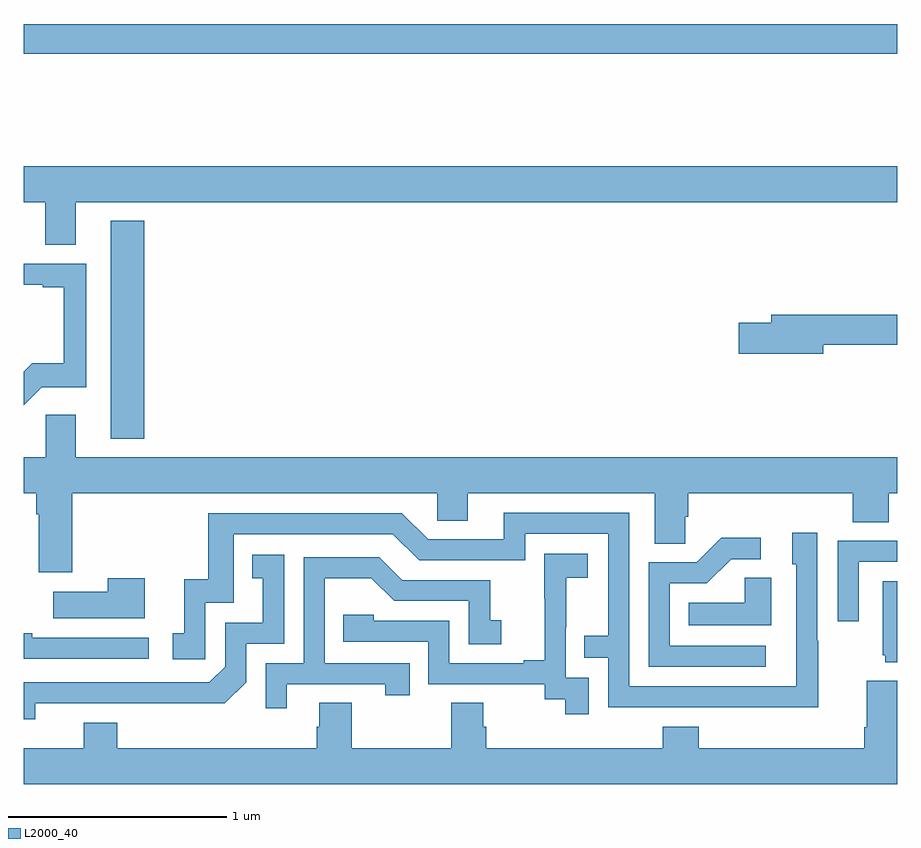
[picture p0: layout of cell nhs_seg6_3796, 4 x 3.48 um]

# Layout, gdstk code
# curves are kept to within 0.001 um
import gdstk
lib = gdstk.Library(unit=1e-6, precision=1e-09)
def R(c, l, rs):  # rectangles x0, y0, x1, y1
    for r in rs: c.add(gdstk.rectangle(r[:2], r[2:], *l))
def P(c, l, *ps):  # polygons
    for p in ps: c.add(gdstk.Polygon(p, *l))
L2000_40 = (2000, 40)

nhs_seg6_3796 = lib.new_cell('nhs_seg6_3796')
R(nhs_seg6_3796, L2000_40, [(335.399,947.585,335.552,948.583), (335,949.348,339,949.484)])
P(nhs_seg6_3796, L2000_40, [(335.239,948.668),(339,948.668),(339,948.832),(335,948.832),(335,948.668),(335.099,948.668),(335.099,948.474),(335.239,948.474)],
  [(335.082,947.82),(335.287,947.82),(335.287,948.387),(335,948.387),(335,948.291),(335.087,948.291),(335.087,948.279),(335.183,948.279),(335.183,947.93),(335.039,947.93),(335,947.891),(335,947.738)],
  [(338.662,948.016),(339,948.016),(339,948.152),(338.423,948.152),(338.423,948.116),(338.274,948.116),(338.274,947.974),(338.662,947.974)],
  [(335.222,947.336),(336.894,947.336),(336.894,947.209),(337.033,947.209),(337.033,947.336),(337.889,947.336),(337.889,947.104),(338.028,947.104),(338.028,947.227),(338.042,947.227),(338.042,947.336),(338.795,947.336),(338.795,947.203),(338.96,947.203),(338.96,947.336),(339,947.336),(339,947.5),(335.239,947.5),(335.239,947.695),(335.1,947.695),(335.1,947.5),(335,947.5),(335,947.336),(335.057,947.336),(335.057,947.24),(335.069,947.24),(335.069,946.974),(335.222,946.974)],
  [(338.637,946.661),(338.634,946.661),(338.634,947.155),(338.519,947.155),(338.519,947.01),(338.538,947.01),(338.538,946.452),(337.773,946.452),(337.773,947.247),(337.199,947.247),(337.199,947.124),(336.852,947.124),(336.732,947.244),(335.845,947.244),(335.845,946.942),(335.735,946.942),(335.735,946.695),(335.682,946.695),(335.682,946.575),(335.832,946.575),(335.832,946.833),(335.961,946.833),(335.961,947.148),(336.69,947.148),(336.81,947.028),(337.296,947.028),(337.296,947.151),(337.677,947.151),(337.677,946.682),(337.567,946.682),(337.567,946.581),(337.677,946.581),(337.677,946.356),(338.637,946.355)],
  [(338.398,946.638),(337.959,946.638),(337.959,946.923),(338.128,946.923),(338.239,947.034),(338.374,947.034),(338.374,947.132),(338.195,947.132),(338.082,947.019),(337.863,947.019),(337.863,946.542),(338.398,946.542)],
  [(338.823,947.022),(339,947.022),(339,947.118),(338.727,947.118),(338.727,946.749),(338.823,946.749)],
  [(337.587,946.491),(337.482,946.491),(337.482,946.721),(337.484,946.721),(337.484,946.949),(337.582,946.949),(337.582,947.059),(337.384,947.059),(337.384,946.853),(337.385,946.853),(337.385,946.57),(337.289,946.57),(337.289,946.557),(336.948,946.557),(336.948,946.752),(336.603,946.752),(336.603,946.779),(336.463,946.779),(336.463,946.656),(336.852,946.656),(336.852,946.461),(337.386,946.461),(337.386,946.393),(337.479,946.393),(337.479,946.323),(337.587,946.323)],
  [(335.052,946.374),(335.92,946.373),(336.018,946.47),(336.018,946.647),(336.192,946.647),(336.192,947.053),(336.046,947.053),(336.046,946.947),(336.095,946.947),(336.095,946.743),(335.922,946.743),(335.922,946.542),(335.85,946.47),(335,946.47),(335,946.301),(335.052,946.301)],
  [(336.205,946.461),(336.656,946.461),(336.656,946.41),(336.767,946.41),(336.767,946.557),(336.378,946.557),(336.378,946.946),(336.592,946.946),(336.696,946.842),(337.038,946.842),(337.038,946.644),(337.186,946.644),(337.186,946.753),(337.137,946.753),(337.137,946.938),(336.733,946.938),(336.628,947.043),(336.282,947.043),(336.282,946.557),(336.108,946.557),(336.108,946.35),(336.205,946.35)],
  [(338.422,946.949),(338.301,946.949),(338.301,946.834),(338.044,946.834),(338.044,946.73),(338.422,946.73)],
  [(335.554,946.945),(335.384,946.945),(335.384,946.885),(335.135,946.885),(335.135,946.763),(335.554,946.763)],
  [(339,946.933),(338.933,946.933),(338.933,946.593),(338.945,946.593),(338.945,946.562),(339,946.562)],
  [(335.572,946.674),(335.039,946.674),(335.039,946.694),(335,946.694),(335,946.578),(335.572,946.578)],
  [(339,946.477),(338.861,946.477),(338.861,946.264),(338.849,946.264),(338.849,946.168),(338.09,946.168),(338.09,946.267),(337.925,946.267),(337.925,946.168),(337.118,946.168),(337.118,946.266),(337.105,946.266),(337.105,946.376),(336.958,946.376),(336.958,946.168),(336.501,946.168),(336.501,946.376),(336.353,946.376),(336.353,946.266),(336.341,946.266),(336.341,946.168),(335.429,946.168),(335.429,946.285),(335.276,946.285),(335.276,946.168),(335,946.168),(335,946.004),(339,946.004)])

lib.write_gds('nhs_seg6_3796.gds')
